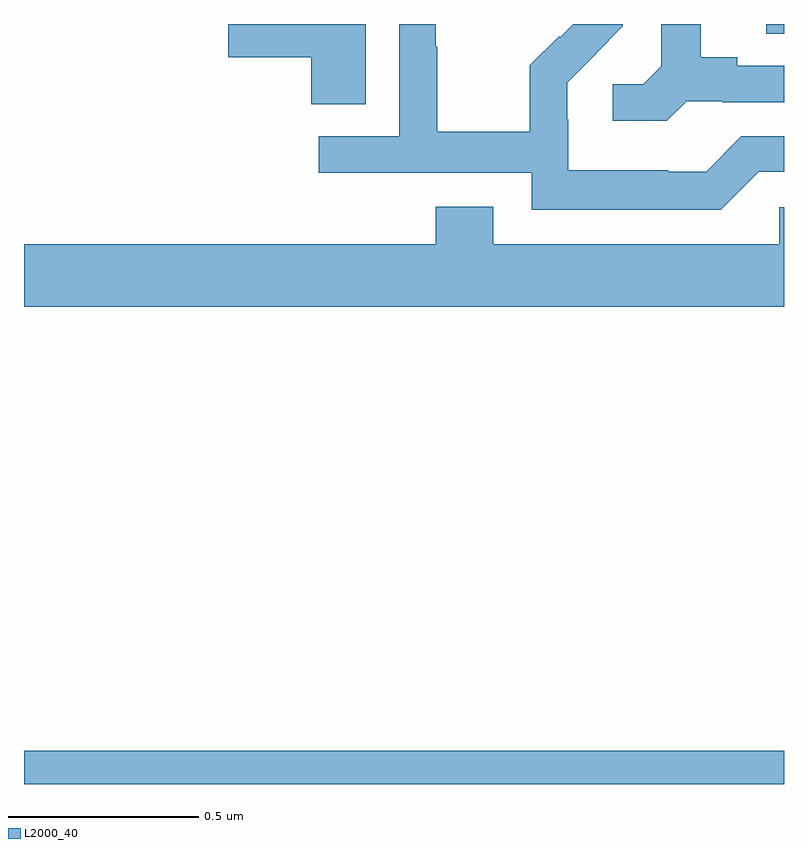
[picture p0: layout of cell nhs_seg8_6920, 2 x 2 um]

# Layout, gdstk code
import gdstk
lib = gdstk.Library(unit=1e-6, precision=1e-09)
def R(c, l, rs):  # rectangles x0, y0, x1, y1
    for r in rs: c.add(gdstk.rectangle(r[:2], r[2:], *l))
def P(c, l, *ps):  # polygons
    for p in ps: c.add(gdstk.Polygon(p, *l))
L2000_40 = (2000, 40)

nhs_seg8_6920 = lib.new_cell('nhs_seg8_6920')
R(nhs_seg8_6920, L2000_40, [(203,1125.9,205,1125.988), (204.953,1127.875,205,1127.9)])
P(nhs_seg8_6920, L2000_40, [(204.744,1127.697),(204.838,1127.697),(204.838,1127.694),(205,1127.694),(205,1127.79),(204.877,1127.79),(204.877,1127.813),(204.781,1127.813),(204.781,1127.9),(204.677,1127.9),(204.677,1127.789),(204.63,1127.742),(204.549,1127.742),(204.549,1127.645),(204.692,1127.645)],
  [(204.933,1127.511),(205,1127.511),(205,1127.604),(204.888,1127.604),(204.795,1127.511),(204.695,1127.511),(204.695,1127.515),(204.432,1127.515),(204.432,1127.649),(204.43,1127.649),(204.43,1127.746),(204.504,1127.82),(204.503,1127.821),(204.576,1127.894),(204.576,1127.9),(204.446,1127.9),(204.411,1127.865),(204.408,1127.868),(204.331,1127.791),(204.331,1127.617),(204.087,1127.617),(204.087,1127.84),(204.084,1127.84),(204.084,1127.9),(203.988,1127.9),(203.988,1127.604),(203.775,1127.604),(203.775,1127.508),(204.336,1127.508),(204.336,1127.411),(204.833,1127.411)],
  [(203.899,1127.9),(203.538,1127.9),(203.538,1127.813),(203.756,1127.813),(203.756,1127.689),(203.899,1127.689)],
  [(205,1127.418),(204.987,1127.418),(204.987,1127.32),(204.235,1127.32),(204.235,1127.419),(204.083,1127.419),(204.083,1127.32),(203,1127.32),(203,1127.156),(205,1127.156)])

lib.write_gds('nhs_seg8_6920.gds')
